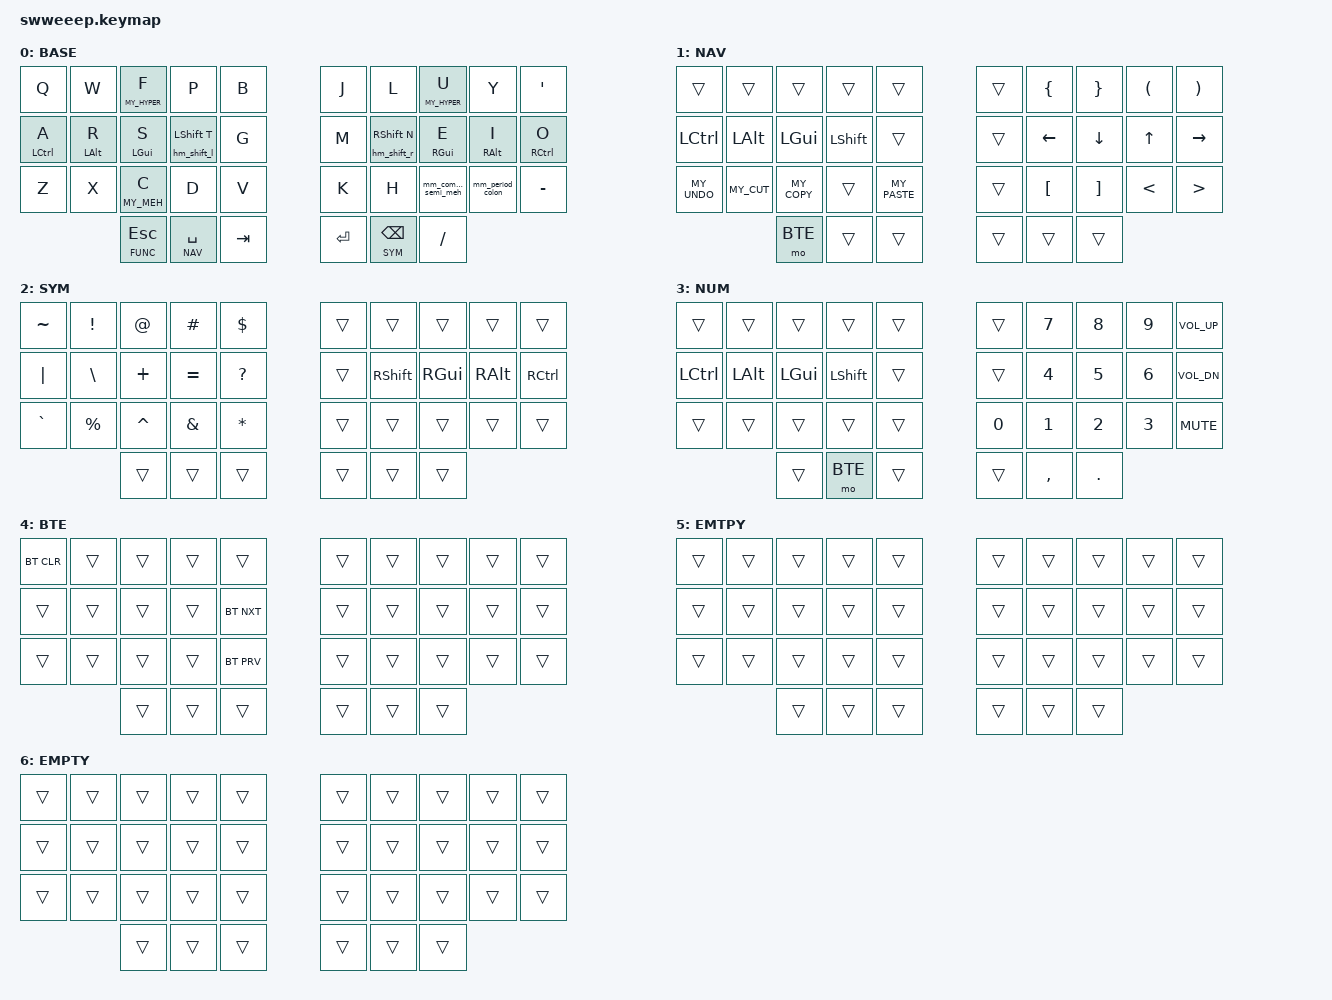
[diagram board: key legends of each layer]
#include <behaviors.dtsi>
#include <dt-bindings/zmk/keys.h>
#include <dt-bindings/zmk/bt.h>
#include <dt-bindings/zmk/outputs.h>

#include "../../../../zmk-nodefree-config/helper.h"
#include "includes/settings.dtsi"
#include "includes/custom_keycodes.dtsi"
#include "includes/behaviours_homerow_mods.dtsi"
#include "includes/combos.dtsi"

#define DEFAULT 0
#define NAV     1
#define SYM     2
#define FUNC    3
#define BTE     4
#define MOUSE   5
#define WINNAV  6

ZMK_BEHAVIOR(mm_comma_semi_meh, mod_morph,
    bindings = <&hm_r RC(RG(RALT)) COMMA>, <&kp SEMICOLON>;
    mods = <(MOD_LSFT|MOD_RSFT)>;
)

ZMK_BEHAVIOR(mm_period_colon, mod_morph,
    bindings = <&kp PERIOD>, <&kp COLON>;
    mods = <(MOD_LSFT|MOD_RSFT)>;
)

/ {

    keymap {
        compatible = "zmk,keymap";

        default_layer {
            label = "BASE";

            bindings = <
// ╭────────────────────────┬────────────────────────┬────────────────────────┬────────────────────────┬────────────────────────╮    ╭────────────────────────┬────────────────────────┬────────────────────────┬───────────────────────┬────────────────────────╮
     &kp Q                    &kp W                    &hm_l MY_HYPER F         &kp P                    &kp B                         &kp J                    &kp L                    &hm_r MY_HYPER U         &kp Y                   &kp SQT
// ├────────────────────────┼────────────────────────┼────────────────────────┼────────────────────────┼────────────────────────┤    ├────────────────────────┼────────────────────────┼────────────────────────┼───────────────────────┼────────────────────────┤
     &hm_l LCTRL A            &hm_l LALT R             &hm_l LGUI S             &hm_shift_l LSHFT T      &kp G                         &kp M                    &hm_shift_r RSHFT N      &hm_r RGUI E             &hm_r RALT I            &hm_r RCTRL O
// ├────────────────────────┼────────────────────────┼────────────────────────┼────────────────────────┼────────────────────────┤    ├────────────────────────┼────────────────────────┼────────────────────────┼───────────────────────┼────────────────────────┤
     &kp Z                    &kp X                    &hm_l MY_MEH C           &kp D                    &kp V                         &kp K                    &kp H                    &mm_comma_semi_meh       &mm_period_colon        &kp MINUS
// ╰────────────────────────┴────────────────────────┴────────────────────────┼────────────────────────┼────────────────────────┤    ├────────────────────────┼────────────────────────┼────────────────────────┼───────────────────────┼────────────────────────╯
                                                       &lt FUNC ESC             &lt NAV SPACE            &kp TAB                       &kp RET                  &lt SYM BSPC             &kp SLASH
//                                                   ╰────────────────────────┴────────────────────────┴────────────────────────╯    ╰────────────────────────┴────────────────────────┴────────────────────────╯   
            >;
        };

        nav_layer {
            label = "NAV";

            bindings = <
// ╭────────────────────────┬────────────────────────┬────────────────────────┬────────────────────────┬────────────────────────╮    ╭────────────────────────┬────────────────────────┬────────────────────────┬───────────────────────┬────────────────────────╮
     &trans                   &trans                   &trans                   &trans                   &trans                        &trans                   &kp LEFT_BRACE           &kp RIGHT_BRACE          &kp LEFT_PARENTHESIS    &kp RIGHT_PARENTHESIS
// ├────────────────────────┼────────────────────────┼────────────────────────┼────────────────────────┼────────────────────────┤    ├────────────────────────┼────────────────────────┼────────────────────────┼───────────────────────┼────────────────────────┤
     &kp LCTRL                &kp LALT                 &kp LGUI                 &kp LSHFT                &trans                        &trans                   &kp LEFT                 &kp DOWN                 &kp UP                  &kp RIGHT
// ├────────────────────────┼────────────────────────┼────────────────────────┼────────────────────────┼────────────────────────┤    ├────────────────────────┼────────────────────────┼────────────────────────┼───────────────────────┼────────────────────────┤
     &kp MY_UNDO              &kp MY_CUT               &kp MY_COPY              &trans                   &kp MY_PASTE                  &trans                   &kp LEFT_BRACKET         &kp RIGHT_BRACKET        &kp LESS_THAN           &kp GREATER_THAN
// ╰────────────────────────┴────────────────────────┴────────────────────────┼────────────────────────┼────────────────────────┤    ├────────────────────────┼────────────────────────┼────────────────────────┼───────────────────────┼────────────────────────╯
                                                       &mo BTE                  &trans                   &trans                        &trans                   &trans                   &trans
//                                                   ╰────────────────────────┴────────────────────────┴────────────────────────╯    ╰────────────────────────┴────────────────────────┴────────────────────────╯   
            >;
        };

        sym_layer {
            label = "SYM";

            bindings = <
// ╭────────────────────────┬────────────────────────┬────────────────────────┬────────────────────────┬────────────────────────╮    ╭────────────────────────┬────────────────────────┬────────────────────────┬───────────────────────┬────────────────────────╮
     &kp TILDE                &kp EXCLAMATION          &kp AT_SIGN              &kp HASH                 &kp DOLLAR                    &trans                   &trans                   &trans                   &trans                  &trans
// ├────────────────────────┼────────────────────────┼────────────────────────┼────────────────────────┼────────────────────────┤    ├────────────────────────┼────────────────────────┼────────────────────────┼───────────────────────┼────────────────────────┤
     &kp PIPE                 &kp BACKSLASH            &kp PLUS                 &kp EQUAL                &kp QUESTION                  &trans                   &kp RSHIFT               &kp RGUI                 &kp RALT                &kp RCTRL
// ├────────────────────────┼────────────────────────┼────────────────────────┼────────────────────────┼────────────────────────┤    ├────────────────────────┼────────────────────────┼────────────────────────┼───────────────────────┼────────────────────────┤
     &kp GRAVE                &kp PERCENT              &kp CARET                &kp AMPERSAND            &kp ASTERISK                  &trans                   &trans                   &trans                   &trans                  &trans
// ╰────────────────────────┴────────────────────────┴────────────────────────┼────────────────────────┼────────────────────────┤    ├────────────────────────┼────────────────────────┼────────────────────────┼───────────────────────┼────────────────────────╯
                                                       &trans                   &trans                   &trans                        &trans                   &trans                   &trans
//                                                   ╰────────────────────────┴────────────────────────┴────────────────────────╯    ╰────────────────────────┴────────────────────────┴────────────────────────╯
            >;
        };

        func_layer {
            label = "NUM";

            bindings = <
// ╭────────────────────────┬────────────────────────┬────────────────────────┬────────────────────────┬────────────────────────╮    ╭────────────────────────┬────────────────────────┬────────────────────────┬───────────────────────┬────────────────────────╮
     &trans                   &trans                   &trans                   &trans                   &trans                        &trans                   &kp NUMBER_7             &kp NUMBER_8             &kp NUMBER_9            &kp K_VOL_UP
// ├────────────────────────┼────────────────────────┼────────────────────────┼────────────────────────┼────────────────────────┤    ├────────────────────────┼────────────────────────┼────────────────────────┼───────────────────────┼────────────────────────┤
     &kp LCTRL                &kp LALT                 &kp LGUI                 &kp LSHFT                &trans                        &trans                   &kp NUMBER_4             &kp NUMBER_5             &kp NUMBER_6            &kp K_VOL_DN
// ├────────────────────────┼────────────────────────┼────────────────────────┼────────────────────────┼────────────────────────┤    ├────────────────────────┼────────────────────────┼────────────────────────┼───────────────────────┼────────────────────────┤
     &trans                   &trans                   &trans                   &trans                   &trans                        &kp NUMBER_0             &kp NUMBER_1             &kp NUMBER_2             &kp NUMBER_3            &kp K_MUTE
// ╰────────────────────────┴────────────────────────┴────────────────────────┼────────────────────────┼────────────────────────┤    ├────────────────────────┼────────────────────────┼────────────────────────┼───────────────────────┼────────────────────────╯
                                                       &trans                   &mo BTE                  &trans                        &trans                   &kp COMMA                &kp PERIOD
//                                                   ╰────────────────────────┴────────────────────────┴────────────────────────╯    ╰────────────────────────┴────────────────────────┴────────────────────────╯
            >;
        };

        bluetooth_layer {
            label = "BTE";

            bindings = <
// ╭────────────────────────┬────────────────────────┬────────────────────────┬────────────────────────┬────────────────────────╮    ╭────────────────────────┬────────────────────────┬────────────────────────┬───────────────────────┬────────────────────────╮
     &bt BT_CLR               &trans                   &trans                   &trans                   &trans                        &trans                   &trans                   &trans                   &trans                  &trans
// ├────────────────────────┼────────────────────────┼────────────────────────┼────────────────────────┼────────────────────────┤    ├────────────────────────┼────────────────────────┼────────────────────────┼───────────────────────┼────────────────────────┤
     &trans                   &trans                   &trans                   &trans                   &bt BT_NXT                    &trans                   &trans                   &trans                   &trans                  &trans
// ├────────────────────────┼────────────────────────┼────────────────────────┼────────────────────────┼────────────────────────┤    ├────────────────────────┼────────────────────────┼────────────────────────┼───────────────────────┼────────────────────────┤
     &trans                   &trans                   &trans                   &trans                   &bt BT_PRV                    &trans                   &trans                   &trans                   &trans                  &trans
// ╰────────────────────────┴────────────────────────┴────────────────────────┼────────────────────────┼────────────────────────┤    ├────────────────────────┼────────────────────────┼────────────────────────┼───────────────────────┼────────────────────────╯
                                                       &trans                   &trans                   &trans                        &trans                   &trans                   &trans
//                                                   ╰────────────────────────┴────────────────────────┴────────────────────────╯    ╰────────────────────────┴────────────────────────┴────────────────────────╯
            >;
        };

        mouse_layer {
            label = "EMTPY";

            bindings = <
// ╭────────────────────────┬────────────────────────┬────────────────────────┬────────────────────────┬────────────────────────╮    ╭────────────────────────┬────────────────────────┬────────────────────────┬───────────────────────┬────────────────────────╮
     &trans                   &trans                   &trans                   &trans                   &trans                        &trans                   &trans                   &trans                   &trans                  &trans
// ├────────────────────────┼────────────────────────┼────────────────────────┼────────────────────────┼────────────────────────┤    ├────────────────────────┼────────────────────────┼────────────────────────┼───────────────────────┼────────────────────────┤
     &trans                   &trans                   &trans                   &trans                   &trans                        &trans                   &trans                   &trans                   &trans                  &trans
// ├────────────────────────┼────────────────────────┼────────────────────────┼────────────────────────┼────────────────────────┤    ├────────────────────────┼────────────────────────┼────────────────────────┼───────────────────────┼────────────────────────┤
     &trans                   &trans                   &trans                   &trans                   &trans                        &trans                   &trans                   &trans                   &trans                  &trans
// ╰────────────────────────┴────────────────────────┴────────────────────────┼────────────────────────┼────────────────────────┤    ├────────────────────────┼────────────────────────┼────────────────────────┼───────────────────────┼────────────────────────╯
                                                       &trans                   &trans                   &trans                        &trans                   &trans                   &trans
//                                                   ╰────────────────────────┴────────────────────────┴────────────────────────╯    ╰────────────────────────┴────────────────────────┴────────────────────────╯
            >;
        };

        winnav_layer {
            label = "EMPTY";

            bindings = <
// ╭────────────────────────┬────────────────────────┬────────────────────────┬────────────────────────┬────────────────────────╮    ╭────────────────────────┬────────────────────────┬────────────────────────┬───────────────────────┬────────────────────────╮
     &trans                   &trans                   &trans                   &trans                   &trans                        &trans                   &trans                   &trans                   &trans                  &trans
// ├────────────────────────┼────────────────────────┼────────────────────────┼────────────────────────┼────────────────────────┤    ├────────────────────────┼────────────────────────┼────────────────────────┼───────────────────────┼────────────────────────┤
     &trans                   &trans                   &trans                   &trans                   &trans                        &trans                   &trans                   &trans                   &trans                  &trans
// ├────────────────────────┼────────────────────────┼────────────────────────┼────────────────────────┼────────────────────────┤    ├────────────────────────┼────────────────────────┼────────────────────────┼───────────────────────┼────────────────────────┤
     &trans                   &trans                   &trans                   &trans                   &trans                        &trans                   &trans                   &trans                   &trans                  &trans
// ╰────────────────────────┴────────────────────────┴────────────────────────┼────────────────────────┼────────────────────────┤    ├────────────────────────┼────────────────────────┼────────────────────────┼───────────────────────┼────────────────────────╯
                                                       &trans                   &trans                   &trans                        &trans                   &trans                   &trans
//                                                   ╰────────────────────────┴────────────────────────┴────────────────────────╯    ╰────────────────────────┴────────────────────────┴────────────────────────╯
            >;
        };
    };
};
